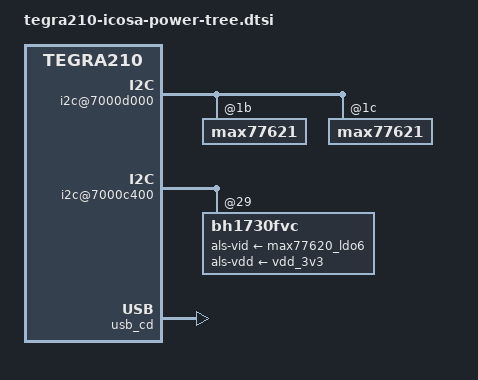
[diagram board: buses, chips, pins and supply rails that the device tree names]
/*
 * Copyright (c) 2014-2020, NVIDIA CORPORATION.  All rights reserved.
 *
 * This program is free software; you can redistribute it and/or modify
 * it under the terms of the GNU General Public License as published by
 * the Free Software Foundation; either version 2 of the License, or
 * (at your option) any later version.
 *
 * This program is distributed in the hope that it will be useful, but WITHOUT
 * ANY WARRANTY; without even the implied warranty of MERCHANTABILITY or
 * FITNESS FOR A PARTICULAR PURPOSE.  See the GNU General Public License for
 * more details.
 *
 * You should have received a copy of the GNU General Public License along
 * along with this program. If not, see <http://www.gnu.org/licenses/>.
 */

#include "tegra210-icosa-pmic.dtsi"
#include "tegra210-icosa-power-fixed.dtsi"
#include <t210-common-platforms/tegra210-ers-power-dvfs-e2174-1101-a00.dtsi>

/ {

	dfll-ovr@70110000 {
		status = "disabled";
	};

	dfll-max77621@70110000 {
		status = "disabled";
	};

	pwm_regulators {
		pwm-regulator@0 {
			status = "disabled";
		};

		pwm-regulator@1 {
			status = "disabled";
		};
	};

	i2c@7000d000 {
		max77621@1b {
			status = "okay";
		};

		max77621@1c {
			status = "okay";
		};
	};

	dvfs_rails {
		vdd-cpu-rail-ovr@0 {
			status = "disabled";
		};

		vdd-gpu-rail-ovr@1 {
			status = "disabled";
		};

		vdd-cpu-rail-max77621@2 {
			status = "okay";
		};

		vdd-gpu-rail-max77621@3 {
			status = "okay";
		};
	};

	cpuidle {
		vdd-cpu-supply = <&cpu_max77621_reg>;
		cc4-microvolt = <606250>;
	};

	dummy_cool_dev: dummy-cool-dev {
		compatible = "dummy-cooling-dev";
		#cooling-cells = <2>; /* min followed by max */
	};

	thermal-zones {
		PMIC-Die {
			polling-delay = <0>; /* milliseconds */
			polling-delay-passive = <0>; /* milliseconds */

			thermal-sensors = <&max77620>;
			trips {
				die_temp_thresh: hot-die {
					temperature = <120000>;
					type = "active";
					hysteresis = <0>;
				};
			};

			cooling-maps {
				map0 {
					trip = <&die_temp_thresh>;
					cooling-device = <&dummy_cool_dev THERMAL_NO_LIMIT
								THERMAL_NO_LIMIT>;
					contribution = <100>;
					cdev-type = "emergency-balanced";
				};
			};
		};
	};

	i2c@7000c400 {
		bh1730fvc@29 {
			als-vid-supply = <&max77620_ldo6>;
			als-vdd-supply = <&vdd_3v3>;
		};
	};

	i2c@546c0000 {
		bus-pullup-supply = <&battery_reg>;
	};

	efuse@7000f800 {
		vpp_fuse-supply = <&max77620_sd3>;
	};

	host1x@50000000 {
		/* tegradc.0 */
		dc@54200000 {
			avdd_dsi_csi-supply = <&max77620_gpio7>;
			pavdd_lcd-supply = <&v_pavdd_5v0>;
			navdd_lcd-supply = <&v_navdd_5v0>;
			dvdd_lcd-supply = <&max77620_sd3>;
			vdd_lcd_bl_en-supply = <&lcd_bl_en>;
		};

		/* tegradc.1 */
		dc@54240000 {
			avdd_hdmi-supply = <&max77620_ldo8>;    /* 1V05 */
			avdd_hdmi_pll-supply = <&max77620_sd3>; /* 1V8 */
			vdd_hdmi_5v0-supply = <&vdd_hdmi>;	/* 5V0 GPIO_PCC7 fixed reg */
			/* dp */
			vdd-dp-pwr-supply = <&vdd_3v3>;
			avdd-dp-pll-supply = <&max77620_sd3>;
			vdd-dp-pad-supply = <&max77620_ldo8>;
		};

		vi {
			avdd_dsi_csi-supply = <&max77620_gpio7>;
		};
	};

	sound_card: sound {
		spkvdd-supply = <&battery_reg>;
		dbvdd-supply = <&max77620_sd3>;
		avdd-supply = <&max77620_sd3>;
	};

	pmc-iopower {
		vddio-sys-supply = <&max77620_sd3>;
		vddio-uart-supply = <&max77620_sd3>;
		vddio-audio-supply = <&max77620_sd3>;
		vddio-cam-supply = <&max77620_sd3>;
		vddio-pex-ctrl-supply = <&max77620_sd3>;
		vddio-sdmmc1-supply = <&max77620_ldo2>;
		vddio-sdmmc3-supply = <&max77620_sd3>;
		vddio-sdmmc4-supply = <&max77620_sd3>;
		vddio-audio-hv-supply = <&max77620_sd3>;
		vddio-debug-supply = <&max77620_sd3>;
		vddio-dbg-supply = <&max77620_sd3>;
		vddio-dmic-supply = <&max77620_sd3>;
		vddio-gpio-supply = <&max77620_sd3>;
		vddio-spi-supply = <&max77620_sd3>;
		vddio-spi-hv-supply = <&max77620_sd3>;
		vddio-sdmmc2-supply = <&max77620_sd3>;
		vddio-dp-supply = <&max77620_sd3>;
	};

	usb_cd {
		usb_bat_chg-supply = <&battery_charger>;
		phys = <&{/xusb_padctl@7009f000/pads/usb2/lanes/usb2-0}>;
		phy-names = "otg-phy";
		nvidia,dcp-current-limit-ua = <1500000>;
		status = "okay";
		#extcon-cells = <1>;
		extcon-cables = <&bm92t 2>;
		extcon-cable-names = "pd";
	};

	xusb@70090000 {
		hvdd_usb-supply = <&vdd_3v3>;
		avdd_pll_utmip-supply = <&max77620_sd3>;
		vddio_hsic-supply = <&max77620_ldo0>;
		avddio_usb-supply = <&max77620_ldo1>;
		dvdd_sata-supply = <&max77620_ldo8>;
		avddio_pll_uerefe-supply = <&max77620_ldo7>;
	};

	xudc@700d0000 {
		hvdd_usb-supply = <&vdd_3v3>;
		avdd_pll_utmip-supply = <&max77620_sd3>;
		avddio_usb-supply = <&max77620_ldo1>;
		avddio_pll_uerefe-supply = <&max77620_ldo7>;
	};

	xotg {
		usb_vbus-supply = <&battery_reg>;
	};

	xusb_padctl@7009f000 {
		vddio-hsic-supply = <&max77620_ldo0>;
		avdd_pll_uerefe-supply = <&max77620_ldo7>;
		hvdd_pex_pll_e-supply = <&max77620_sd3>;
		dvdd_pex_pll-supply = <&max77620_ldo1>;
		hvddio_pex-supply = <&max77620_sd3>;
		dvddio_pex-supply = <&max77620_ldo1>;
		hvdd_sata-supply = <&max77620_sd3>;
		dvdd_sata_pll-supply = <&max77620_ldo8>;
		hvddio_sata-supply = <&max77620_sd3>;
		dvddio_sata-supply = <&max77620_ldo8>;


		ports {
			usb2-0 {
				vbus-supply = <&battery_reg>;
			};
		};
	};

	sdhci@700b0600 {
		vqmmc-supply = <&max77620_sd3>;
		vmmc-supply = <&vdd_3v3>;
	};

	sdhci@700b0400 {
		vqmmc-supply = <&max77620_sd3>;
		vmmc-supply = <&vdd_3v3>;
	};

	sdhci@700b0200 {
		vqmmc-supply = <&max77620_sd3>;
		vmmc-supply = <&vdd_3v3>;
	};

	sdhci@700b0000 {
		vqmmc-supply = <&max77620_ldo2>;
		vmmc-supply = <&en_vdd_sd>;
	};

	sata@70020000 {
		hvdd_sata-supply = <&max77620_sd3>;
		hvdd_pex_pll_e-supply = <&max77620_sd3>;
		l0_hvddio_sata-supply = <&max77620_sd3>;
		l0_dvddio_sata-supply = <&max77620_ldo8>;
		dvdd_sata_pll-supply = <&max77620_ldo8>;
	};

	bluedroid_pm {
		avdd-supply = <&battery_reg>;
		dvdd-supply = <&max77620_sd3>;
	};

	pwm-fan {
		vdd-fan-supply = <&v_vdd50_a>;
	};
};
